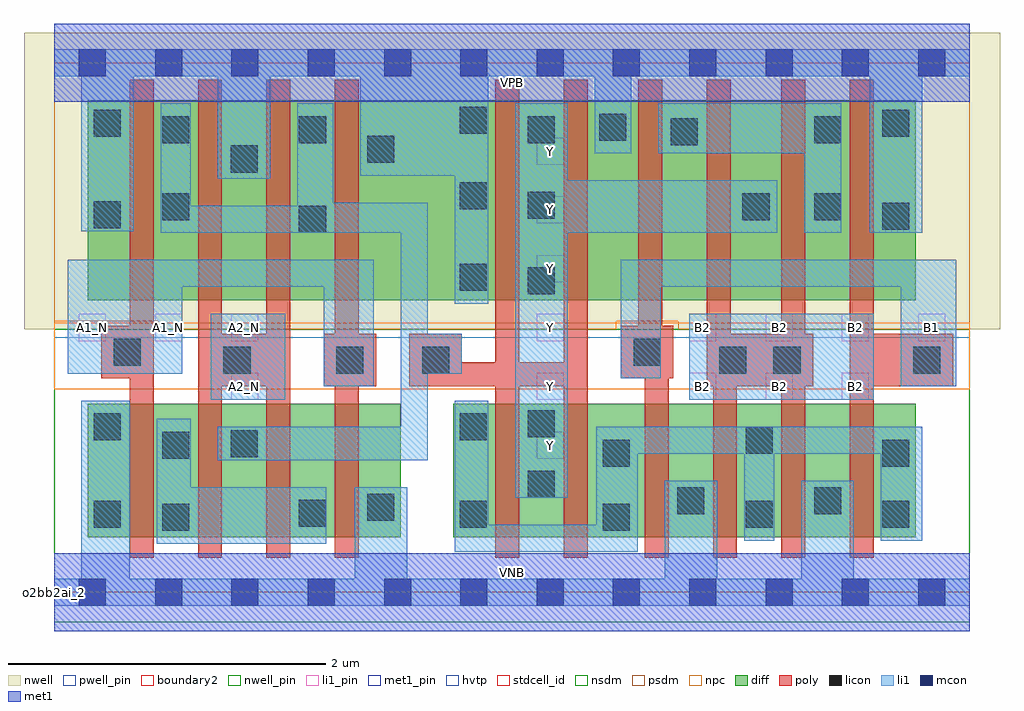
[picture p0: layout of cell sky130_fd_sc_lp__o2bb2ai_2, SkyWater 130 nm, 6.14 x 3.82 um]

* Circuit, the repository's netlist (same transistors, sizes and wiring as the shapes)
* Copyright 2020 The SkyWater PDK Authors
*
* Licensed under the Apache License, Version 2.0 (the "License");
* you may not use this file except in compliance with the License.
* You may obtain a copy of the License at
*
*     https://www.apache.org/licenses/LICENSE-2.0
*
* Unless required by applicable law or agreed to in writing, software
* distributed under the License is distributed on an "AS IS" BASIS,
* WITHOUT WARRANTIES OR CONDITIONS OF ANY KIND, either express or implied.
* See the License for the specific language governing permissions and
* limitations under the License.
*
* SPDX-License-Identifier: Apache-2.0

.SUBCKT sky130_fd_sc_lp__o2bb2ai_2 A1_N A2_N B1 B2 VGND VNB VPB VPWR Y
*.PININFO A1_N:I A2_N:I B1:I B2:I VGND:I VNB:I VPB:I VPWR:I Y:O
MMNnand0 VGND A1_N sndNA1N VNB sky130_fd_pr__nfet_01v8 m=2 w=0.84U l=0.15U mult=1
+ sa=0.265 sb=0.265 sd=0.28 area=0.063 perim=1.14
MMNnand1 sndNA1N A2_N inand VNB sky130_fd_pr__nfet_01v8 m=2 w=0.84U l=0.15U mult=1
+ sa=0.265 sb=0.265 sd=0.28 area=0.063 perim=1.14
MMNaoi10 nmid B1 VGND VNB sky130_fd_pr__nfet_01v8 m=2 w=0.84U l=0.15U mult=1 sa=0.265
+ sb=0.265 sd=0.28 area=0.063 perim=1.14
MMNaoi11 nmid B2 VGND VNB sky130_fd_pr__nfet_01v8 m=2 w=0.84U l=0.15U mult=1 sa=0.265
+ sb=0.265 sd=0.28 area=0.063 perim=1.14
MMNaoi20 Y inand nmid VNB sky130_fd_pr__nfet_01v8 m=2 w=0.84U l=0.15U mult=1 sa=0.265
+ sb=0.265 sd=0.28 area=0.063 perim=1.14
MMPnand0 inand A1_N VPWR VPB sky130_fd_pr__pfet_01v8_hvt m=2 w=1.26U l=0.15U mult=1
+ sa=0.265 sb=0.265 sd=0.28 area=0.063 perim=1.14
MMPnand1 inand A2_N VPWR VPB sky130_fd_pr__pfet_01v8_hvt m=2 w=1.26U l=0.15U mult=1
+ sa=0.265 sb=0.265 sd=0.28 area=0.063 perim=1.14
MMPaoi10 VPWR B1 sndPB1 VPB sky130_fd_pr__pfet_01v8_hvt m=2 w=1.26U l=0.15U mult=1
+ sa=0.265 sb=0.265 sd=0.28 area=0.063 perim=1.14
MMPaoi11 sndPB1 B2 Y VPB sky130_fd_pr__pfet_01v8_hvt m=2 w=1.26U l=0.15U mult=1
+ sa=0.265 sb=0.265 sd=0.28 area=0.063 perim=1.14
MMPaoi20 Y inand VPWR VPB sky130_fd_pr__pfet_01v8_hvt m=2 w=1.26U l=0.15U mult=1
+ sa=0.265 sb=0.265 sd=0.28 area=0.063 perim=1.14
.ENDS sky130_fd_sc_lp__o2bb2ai_2

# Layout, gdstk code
import gdstk
lib = gdstk.Library(unit=1e-6, precision=1e-09)
def R(c, l, rs):  # rectangles x0, y0, x1, y1
    for r in rs: c.add(gdstk.rectangle(r[:2], r[2:], *l))
def A(c, l, x, y, w, h, nx, ny, dx, dy):  # array of equal rectangles
    R(c, l, [(x+i*dx, y+j*dy, x+i*dx+w, y+j*dy+h) for i in range(nx) for j in range(ny)])
def P(c, l, *ps):  # polygons
    for p in ps: c.add(gdstk.Polygon(p, *l))
nwell_pin = (64, 16)
nwell = (64, 20)
diff = (65, 20)
poly = (66, 20)
licon = (66, 44)
li1_pin = (67, 16)
li1 = (67, 20)
mcon = (67, 44)
met1_pin = (68, 16)
met1 = (68, 20)
hvtp = (78, 44)
stdcell_id = (81, 4)
nsdm = (93, 44)
psdm = (94, 20)
npc = (95, 20)
pwell_pin = (122, 16)
boundary2 = (236, 0)

sky130_fd_sc_lp__o2bb2ai = lib.new_cell('sky130_fd_sc_lp__o2bb2ai_2')
R(sky130_fd_sc_lp__o2bb2ai, nwell_pin, [(0,3.085,5.76,3.33)])
R(sky130_fd_sc_lp__o2bb2ai, nwell, [(-0.19,1.655,5.95,3.52)])
R(sky130_fd_sc_lp__o2bb2ai, diff, [(0.21,0.345,2.18,1.185), (2.51,0.345,5.42,1.185), (0.21,1.835,5.42,3.095)])
P(sky130_fd_sc_lp__o2bb2ai, poly, [(0.625,3.225),(0.475,3.225),(0.475,1.675),(0.295,1.675),(0.295,1.345),(0.475,1.345),(0.475,0.215),(0.625,0.215)],
  [(1.485,3.225),(1.335,3.225),(1.335,1.625),(1.055,1.625),(1.055,3.225),(0.905,3.225),(0.905,0.215),(1.055,0.215),(1.055,1.295),(1.335,1.295),(1.335,0.215),(1.485,0.215)],
  [(2.025,1.625),(1.915,1.625),(1.915,3.225),(1.765,3.225),(1.765,1.625),(1.695,1.625),(1.695,1.295),(1.765,1.295),(1.765,0.215),(1.915,0.215),(1.915,1.295),(2.025,1.295)],
  [(3.355,3.225),(3.205,3.225),(3.205,1.445),(2.925,1.445),(2.925,3.225),(2.775,3.225),(2.775,1.445),(2.565,1.445),(2.565,1.625),(2.235,1.625),(2.235,1.295),(2.775,1.295),(2.775,0.215),(2.925,0.215),(2.925,1.295),(3.205,1.295),(3.205,0.215),(3.355,0.215)],
  [(3.895,1.675),(3.825,1.675),(3.825,3.225),(3.675,3.225),(3.675,1.675),(3.565,1.675),(3.565,1.345),(3.715,1.345),(3.715,0.215),(3.865,0.215),(3.865,1.345),(3.895,1.345)],
  [(4.775,1.625),(4.725,1.625),(4.725,3.225),(4.575,3.225),(4.575,1.625),(4.255,1.625),(4.255,3.225),(4.105,3.225),(4.105,1.295),(4.145,1.295),(4.145,0.215),(4.295,0.215),(4.295,1.295),(4.575,1.295),(4.575,0.215),(4.725,0.215),(4.725,1.295),(4.775,1.295)],
  [(5.655,1.625),(5.155,1.625),(5.155,3.225),(5.005,3.225),(5.005,0.215),(5.155,0.215),(5.155,1.295),(5.655,1.295)])
A(sky130_fd_sc_lp__o2bb2ai, licon, 2.98, 1.875, 0.17, 0.17, 1, 3, 0, 0.475)
R(sky130_fd_sc_lp__o2bb2ai, licon, [(0.68,0.385,0.85,0.555), (3.45,0.385,3.62,0.555), (0.25,0.405,0.42,0.575), (2.55,0.405,2.72,0.575), (4.35,0.405,4.52,0.575), (5.21,0.405,5.38,0.575), (1.54,0.41,1.71,0.58), (1.97,0.45,2.14,0.62), (3.92,0.49,4.09,0.66), (4.78,0.49,4.95,0.66), (2.98,0.595,3.15,0.765), (3.45,0.79,3.62,0.96), (5.21,0.79,5.38,0.96), (0.68,0.84,0.85,1.01), (1.11,0.85,1.28,1.02), (4.35,0.87,4.52,1.04), (0.25,0.955,0.42,1.125), (2.55,0.955,2.72,1.125), (2.98,0.975,3.15,1.145), (1.065,1.375,1.235,1.545), (1.775,1.375,1.945,1.545), (2.315,1.375,2.485,1.545), (4.185,1.375,4.355,1.545), (4.525,1.375,4.695,1.545), (5.405,1.375,5.575,1.545), (0.375,1.425,0.545,1.595), (3.645,1.425,3.815,1.595), (2.55,1.895,2.72,2.065), (1.54,2.26,1.71,2.43), (5.21,2.28,5.38,2.45), (0.25,2.29,0.42,2.46), (0.68,2.34,0.85,2.51), (4.33,2.34,4.5,2.51), (4.78,2.34,4.95,2.51), (2.55,2.41,2.72,2.58), (1.11,2.64,1.28,2.81), (1.97,2.7,2.14,2.87), (3.88,2.81,4.05,2.98), (0.68,2.825,0.85,2.995), (1.54,2.825,1.71,2.995), (4.78,2.825,4.95,2.995), (3.43,2.84,3.6,3.01), (0.25,2.865,0.42,3.035), (5.21,2.865,5.38,3.035), (2.55,2.885,2.72,3.055)])
A(sky130_fd_sc_lp__o2bb2ai, li1_pin, 3.035, 0.84, 0.17, 0.17, 1, 6, 0, 0.37)
A(sky130_fd_sc_lp__o2bb2ai, li1_pin, 3.995, 1.21, 0.17, 0.17, 3, 1, 0.48, 0)
A(sky130_fd_sc_lp__o2bb2ai, li1_pin, 0.155, 1.58, 0.17, 0.17, 3, 1, 0.48, 0)
A(sky130_fd_sc_lp__o2bb2ai, li1_pin, 3.995, 1.58, 0.17, 0.17, 4, 1, 0.48, 0)
R(sky130_fd_sc_lp__o2bb2ai, li1_pin, [(1.115,1.21,1.285,1.38)])
R(sky130_fd_sc_lp__o2bb2ai, li1, [(0.985,1.21,1.455,1.75), (3.995,1.21,5.155,1.75)])
P(sky130_fd_sc_lp__o2bb2ai, li1, [(5.76,3.415),(0,3.415),(0,3.245),(0.17,3.245),(0.17,2.27),(0.5,2.27),(0.5,3.245),(1.03,3.245),(1.03,2.6),(1.36,2.6),(1.36,3.245),(1.925,3.245),(1.925,2.62),(2.52,2.62),(2.52,1.815),(2.73,1.815),(2.73,3.245),(3.4,3.245),(3.4,2.76),(3.63,2.76),(3.63,3.245),(5.13,3.245),(5.13,2.26),(5.46,2.26),(5.46,3.245),(5.76,3.245)],
  [(1.89,0.085),(1.89,0.66),(2.22,0.66),(2.22,0.085),(3.84,0.085),(3.84,0.7),(4.17,0.7),(4.17,0.085),(4.7,0.085),(4.7,0.7),(5.03,0.7),(5.03,0.085),(5.76,0.085),(5.76,-0.085),(0,-0.085),(0,0.085),(0.17,0.085),(0.17,1.205),(0.475,1.205),(0.475,0.085)],
  [(2.9,0.595),(2.9,3.075),(3.23,3.075),(3.23,2.59),(4.55,2.59),(4.55,2.26),(3.23,2.26),(3.23,0.595)],
  [(3.8,2.76),(3.8,3.075),(4.95,3.075),(4.95,2.26),(4.72,2.26),(4.72,2.76)],
  [(0.86,2.43),(1.53,2.43),(1.53,3.075),(1.755,3.075),(1.755,2.45),(2.35,2.45),(2.35,1.625),(2.565,1.625),(2.565,1.375),(2.35,1.375),(2.35,0.83),(1.03,0.83),(1.03,1.04),(2.18,1.04),(2.18,2.26),(0.67,2.26),(0.67,3.075),(0.86,3.075)],
  [(5.2,0.87),(4.53,0.87),(4.53,0.325),(4.34,0.325),(4.34,0.87),(3.67,0.87),(3.67,0.255),(2.52,0.255),(2.52,1.205),(2.73,1.205),(2.73,0.425),(3.41,0.425),(3.41,1.04),(5.46,1.04),(5.46,0.325),(5.2,0.325)],
  [(0.86,0.66),(1.71,0.66),(1.71,0.305),(0.645,0.305),(0.645,1.09),(0.86,1.09)],
  [(2.01,2.09),(2.01,1.295),(1.695,1.295),(1.695,1.92),(0.805,1.92),(0.805,1.375),(0.085,1.375),(0.085,2.09)],
  [(3.565,1.345),(3.565,2.09),(5.675,2.09),(5.675,1.295),(5.325,1.295),(5.325,1.92),(3.815,1.92),(3.815,1.345)])
A(sky130_fd_sc_lp__o2bb2ai, mcon, 0.155, -0.085, 0.17, 0.17, 12, 2, 0.48, 3.33)
R(sky130_fd_sc_lp__o2bb2ai, met1_pin, [(0,0,5.76,0.245), (0,3.085,5.76,3.33)])
R(sky130_fd_sc_lp__o2bb2ai, met1, [(0,-0.245,5.76,0.245), (0,3.085,5.76,3.575)])
R(sky130_fd_sc_lp__o2bb2ai, hvtp, [(0,1.6,5.76,3.33)])
R(sky130_fd_sc_lp__o2bb2ai, stdcell_id, [(0,0,5.76,3.33)])
R(sky130_fd_sc_lp__o2bb2ai, nsdm, [(0,-0.19,5.76,1.655)])
P(sky130_fd_sc_lp__o2bb2ai, psdm, [(5.76,3.52),(0,3.52),(0,1.705),(0.655,1.705),(0.655,1.655),(3.535,1.655),(3.535,1.705),(3.925,1.705),(3.925,1.655),(5.76,1.655)])
R(sky130_fd_sc_lp__o2bb2ai, npc, [(0,1.275,5.76,1.695)])
R(sky130_fd_sc_lp__o2bb2ai, pwell_pin, [(0,0,5.76,0.245)])
R(sky130_fd_sc_lp__o2bb2ai, boundary2, [(0,0,5.76,3.33)])
sky130_fd_sc_lp__o2bb2ai.add(gdstk.Label('VNB', (2.88,0.123), layer=64, texttype=59))
sky130_fd_sc_lp__o2bb2ai.add(gdstk.Label('VPB', (2.88,3.208), layer=64, texttype=5))
sky130_fd_sc_lp__o2bb2ai.add(gdstk.Label('o2bb2ai_2', (0,0), layer=83, texttype=44))
sky130_fd_sc_lp__o2bb2ai.add(gdstk.Label('VPWR', (2.88,3.208), layer=68, texttype=5))
sky130_fd_sc_lp__o2bb2ai.add(gdstk.Label('VGND', (2.88,0.123), layer=68, texttype=5))
sky130_fd_sc_lp__o2bb2ai.add(gdstk.Label('Y', (3.12,0.925), layer=67, texttype=5))
sky130_fd_sc_lp__o2bb2ai.add(gdstk.Label('Y', (3.12,1.295), layer=67, texttype=5))
sky130_fd_sc_lp__o2bb2ai.add(gdstk.Label('Y', (3.12,1.665), layer=67, texttype=5))
sky130_fd_sc_lp__o2bb2ai.add(gdstk.Label('Y', (3.12,2.035), layer=67, texttype=5))
sky130_fd_sc_lp__o2bb2ai.add(gdstk.Label('Y', (3.12,2.405), layer=67, texttype=5))
sky130_fd_sc_lp__o2bb2ai.add(gdstk.Label('Y', (3.12,2.775), layer=67, texttype=5))
sky130_fd_sc_lp__o2bb2ai.add(gdstk.Label('A2_N', (1.2,1.295), layer=67, texttype=5))
sky130_fd_sc_lp__o2bb2ai.add(gdstk.Label('A2_N', (1.2,1.665), layer=67, texttype=5))
sky130_fd_sc_lp__o2bb2ai.add(gdstk.Label('B2', (4.08,1.295), layer=67, texttype=5))
sky130_fd_sc_lp__o2bb2ai.add(gdstk.Label('B2', (4.08,1.665), layer=67, texttype=5))
sky130_fd_sc_lp__o2bb2ai.add(gdstk.Label('B2', (4.56,1.295), layer=67, texttype=5))
sky130_fd_sc_lp__o2bb2ai.add(gdstk.Label('B2', (4.56,1.665), layer=67, texttype=5))
sky130_fd_sc_lp__o2bb2ai.add(gdstk.Label('B2', (5.04,1.295), layer=67, texttype=5))
sky130_fd_sc_lp__o2bb2ai.add(gdstk.Label('B2', (5.04,1.665), layer=67, texttype=5))
sky130_fd_sc_lp__o2bb2ai.add(gdstk.Label('A1_N', (0.24,1.665), layer=67, texttype=5))
sky130_fd_sc_lp__o2bb2ai.add(gdstk.Label('A1_N', (0.72,1.665), layer=67, texttype=5))
sky130_fd_sc_lp__o2bb2ai.add(gdstk.Label('B1', (5.52,1.665), layer=67, texttype=5))

lib.write_gds('sky130_fd_sc_lp__o2bb2ai_2.gds')
